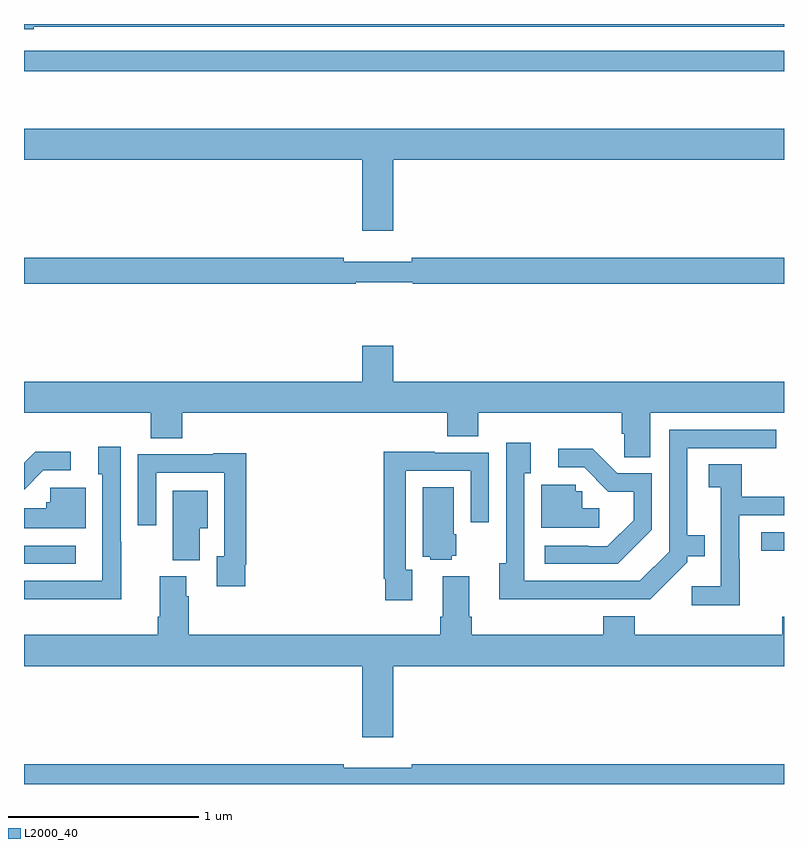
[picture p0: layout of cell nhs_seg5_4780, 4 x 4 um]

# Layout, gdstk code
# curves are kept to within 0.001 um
import gdstk
lib = gdstk.Library(unit=1e-6, precision=1e-09)
def R(c, l, rs):  # rectangles x0, y0, x1, y1
    for r in rs: c.add(gdstk.rectangle(r[:2], r[2:], *l))
def P(c, l, *ps):  # polygons
    for p in ps: c.add(gdstk.Polygon(p, *l))
L2000_40 = (2000, 40)

nhs_seg5_4780 = lib.new_cell('nhs_seg5_4780')
R(nhs_seg5_4780, L2000_40, [(391,863.958,391.273,864.054), (394.881,864.027,395,864.123), (391,866.55,395,866.658)])
P(nhs_seg5_4780, L2000_40, [(391.05,866.784),(395,866.784),(395,866.799),(391,866.799),(391,866.771),(391.05,866.771)],
  [(392.944,866.084),(395,866.084),(395,866.248),(391,866.248),(391,866.084),(392.78,866.084),(392.78,865.71),(392.944,865.71)],
  [(392.745,865.44),(393.045,865.44),(393.045,865.432),(395,865.432),(395,865.568),(393.04,865.568),(393.04,865.549),(392.684,865.549),(392.684,865.568),(391,865.568),(391,865.432),(392.745,865.432)],
  [(394.297,864.752),(395,864.752),(395,864.916),(392.944,864.916),(392.944,865.105),(392.78,865.105),(392.78,864.916),(391,864.916),(391,864.752),(391.667,864.752),(391.667,864.619),(391.832,864.619),(391.832,864.752),(393.227,864.752),(393.227,864.628),(393.392,864.628),(393.392,864.752),(394.145,864.752),(394.145,864.642),(394.159,864.642),(394.159,864.52),(394.297,864.52)],
  [(393.965,863.772),(394.296,863.772),(394.491,863.967),(394.491,863.999),(394.583,863.999),(394.583,864.109),(394.492,864.109),(394.492,864.567),(394.96,864.567),(394.96,864.663),(394.395,864.663),(394.395,864.021),(394.242,863.868),(393.633,863.868),(393.633,864.434),(393.667,864.434),(393.667,864.595),(393.537,864.595),(393.537,863.962),(393.5,863.962),(393.5,863.771)],
  [(391.511,864.074),(391.509,864.074),(391.509,864.574),(391.391,864.574),(391.391,864.429),(391.413,864.429),(391.413,863.868),(391,863.868),(391,863.772),(391.048,863.772),(391.048,863.771),(391.511,863.771)],
  [(394.305,864.137),(394.305,864.435),(394.122,864.435),(393.994,864.563),(393.813,864.563),(393.813,864.465),(393.948,864.465),(394.075,864.338),(394.208,864.338),(394.208,864.188),(394.071,864.051),(393.971,864.051),(393.971,864.054),(393.741,864.054),(393.741,863.958),(394.126,863.958)],
  [(391.101,864.45),(391.246,864.45),(391.246,864.548),(391.058,864.548),(391,864.49),(391,864.349)],
  [(393.043,863.927),(393.009,863.927),(393.009,864.447),(393.351,864.447),(393.351,864.177),(393.447,864.177),(393.447,864.543),(393.163,864.543),(393.163,864.547),(392.893,864.547),(392.893,863.878),(392.901,863.878),(392.901,863.766),(393.043,863.766)],
  [(392.164,863.953),(392.171,863.953),(392.171,864.541),(391.995,864.541),(391.995,864.534),(391.599,864.534),(391.599,864.162),(391.695,864.162),(391.695,864.438),(392.055,864.438),(392.055,863.997),(392.015,863.997),(392.015,863.841),(392.164,863.841)],
  [(394.767,863.981),(394.764,863.981),(394.764,864.213),(395,864.213),(395,864.312),(394.777,864.312),(394.777,864.482),(394.605,864.482),(394.605,864.361),(394.668,864.361),(394.668,863.839),(394.515,863.839),(394.515,863.741),(394.767,863.741)],
  [(394.027,864.25),(393.939,864.25),(393.939,864.339),(393.903,864.339),(393.903,864.375),(393.722,864.375),(393.722,864.147),(394.027,864.147)],
  [(393.252,864),(393.274,864),(393.274,864.114),(393.262,864.114),(393.262,864.362),(393.098,864.362),(393.098,863.996),(393.138,863.996),(393.138,863.978),(393.252,863.978)],
  [(391.324,864.357),(391.137,864.357),(391.137,864.282),(391.118,864.282),(391.118,864.25),(391,864.25),(391,864.146),(391.324,864.146)],
  [(391.924,864.146),(391.966,864.146),(391.966,864.343),(391.784,864.343),(391.784,863.977),(391.924,863.977)],
  [(392.944,863.42),(395,863.42),(395,863.68),(394.991,863.68),(394.991,863.584),(394.214,863.584),(394.214,863.683),(394.049,863.683),(394.049,863.584),(393.356,863.584),(393.356,863.68),(393.343,863.68),(393.343,863.893),(393.203,863.893),(393.203,863.68),(393.191,863.68),(393.191,863.584),(391.868,863.584),(391.868,863.786),(391.855,863.786),(391.855,863.892),(391.715,863.892),(391.715,863.68),(391.703,863.68),(391.703,863.584),(391,863.584),(391,863.42),(392.78,863.42),(392.78,863.046),(392.944,863.046)],
  [(395,862.904),(393.04,862.904),(393.04,862.885),(392.684,862.885),(392.684,862.904),(391,862.904),(391,862.799),(395,862.799)])

lib.write_gds('nhs_seg5_4780.gds')
